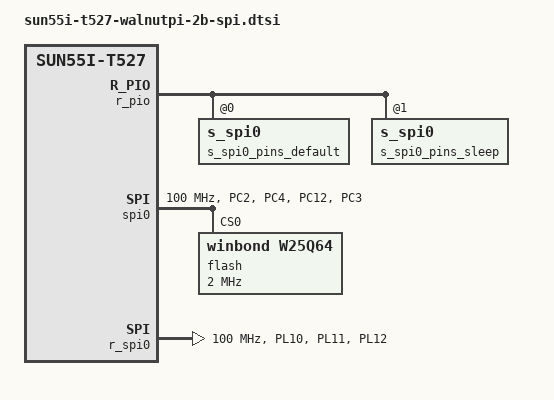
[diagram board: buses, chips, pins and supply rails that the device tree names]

&pio {
	spi0_pins_default: spi0@0 {
		pins = "PC2", "PC4", "PC12";
		function = "spi0";
		drive-strength = <10>;
		bias-pull-up;
	};
	
	
	spi0_pins_cs: spi0@1 {
		pins = "PC3";
		function = "spi0";
		drive-strength = <10>;
		bias-pull-up;
	};
	
	
	spi0_pins_sleep: spi0@2 {
		pins = "PJ20", "PJ21", "PJ22", "PJ23", "PJ25", "PJ26";
		function = "gpio_in";
	};
	
	spi1_pins_default: spi1@0 {
		pins = "PI3", "PI4", "PI5";
		function = "spi1";
		drive-strength = <10>;
		bias-pull-up;
	};
	
	spi1_pins_cs0: spi1@1 {
		pins = "PI2";
		function = "spi1";
		drive-strength = <10>;
		bias-pull-up;
	};
	
};
&r_pio {
	s_spi0_pins_default: s_spi0@0 {
		pins = "PL10", "PL11", "PL12";
		function = "s_spi0";
		drive-strength = <10>;
		bias-pull-up;
	};
	
	s_spi0_pins_sleep: s_spi0@1 {
		pins = "PL10", "PL11", "PL12";
		function = "gpio_in";
	};
	
	
};

&spi0 {
	clock-frequency = <100000000>;
	pinctrl-0 = <&spi0_pins_default &spi0_pins_cs>;
	pinctrl-1 = <&spi0_pins_sleep>;
	pinctrl-names = "default", "sleep";
	sunxi,spi-num-cs = <1>;
	sunxi,spi-bus-mode = <SUNXI_SPI_BUS_NOR>;
	sunxi,spi-cs-mode = <SUNXI_SPI_CS_SOFT>;
	status = "okay";
	
	flash@0 {
		#address-cells = <1>;
		#size-cells = <1>;
		compatible = "winbond,w25q64", "jedec,spi-nor";
		reg = <0>;
		spi-max-frequency = <2000000>;
	};
};
&spi1 {
	sunxi,spi-num-cs = <2>;
	pinctrl-0 = <&spi1_pins_default &spi1_pins_cs0>;
	sunxi,spi-cs-mode = <SUNXI_SPI_CS_SOFT>;
	pinctrl-names = "default";
	clock-frequency = <600000000>;
	#address-cells = <1>;
	#size-cells = <0>;
	cs-gpios = <0>, <&pio PI 6 GPIO_ACTIVE_LOW>;
	status = "disabled";
	
};

&r_spi0 {
	pinctrl-0 = <&s_spi0_pins_default>;
	pinctrl-1 = <&s_spi0_pins_sleep>;
	pinctrl-names = "default", "sleep";
	sunxi,spi-bus-mode = <SUNXI_SPI_BUS_MASTER>;
	sunxi,spi-cs-mode = <SUNXI_SPI_CS_AUTO>;
	clock-frequency = <100000000>;
	status = "okay";
	
};
